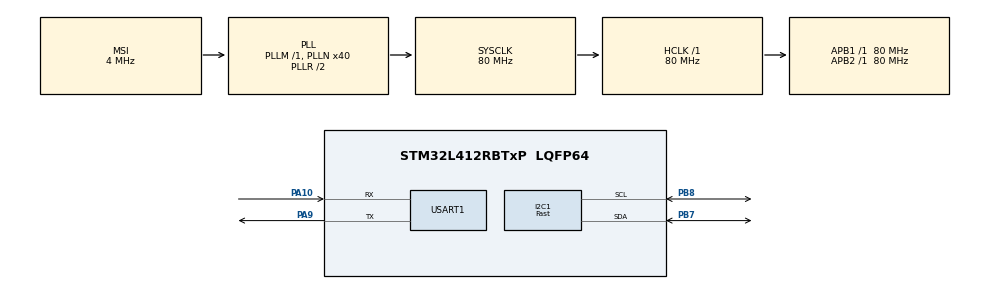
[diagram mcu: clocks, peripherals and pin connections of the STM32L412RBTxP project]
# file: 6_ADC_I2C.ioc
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I2C1.I2C_Speed_Mode=I2C_Fast
I2C1.Timing=0x00702991
Mcu.Family=STM32L4
Mcu.Name=STM32L412RBTxP
Mcu.Package=LQFP64
NVIC.PriorityGroup=NVIC_PRIORITYGROUP_4
PA10.Mode=Asynchronous
PA10.Signal=USART1_RX
PA9.Mode=Asynchronous
PA9.Signal=USART1_TX
PB7.Mode=I2C
PB7.Signal=I2C1_SDA
PB8.Mode=I2C
PB8.Signal=I2C1_SCL
ProjectManager.HeapSize=0x200
ProjectManager.StackSize=0x400
ProjectManager.TargetToolchain=STM32CubeIDE
RCC.ADCFreq_Value=80000000
RCC.AHBFreq_Value=80000000
RCC.APB1Freq_Value=80000000
RCC.APB1TimFreq_Value=80000000
RCC.APB2Freq_Value=80000000
RCC.APB2TimFreq_Value=80000000
RCC.CortexFreq_Value=80000000
RCC.HCLKFreq_Value=80000000
RCC.HSE_VALUE=8000000
RCC.HSI48_VALUE=48000000
RCC.HSI_VALUE=16000000
RCC.LSE_VALUE=32768
RCC.MSI_VALUE=4000000
RCC.PLLN=40
RCC.SYSCLKFreq_VALUE=80000000
RCC.SYSCLKSource=RCC_SYSCLKSOURCE_PLLCLK
RCC.USBFreq_Value=4000000
RCC.VCOOutputFreq_Value=160000000
USART1.VirtualMode-Asynchronous=VM_ASYNC
board=custom

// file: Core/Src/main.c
/* USER CODE BEGIN Header */
/**
  ******************************************************************************
  * @file           : main.c
  * @brief          : Main program body
  ******************************************************************************
  * @attention
  *
  * <h2><center>&copy; Copyright (c) 2021 STMicroelectronics.
  * All rights reserved.</center></h2>
  *
  * This software component is licensed by ST under BSD 3-Clause license,
  * the "License"; You may not use this file except in compliance with the
  * License. You may obtain a copy of the License at:
  *                        opensource.org/licenses/BSD-3-Clause
  *
  ******************************************************************************
  */
/* USER CODE END Header */
#include "main.h"
#include "i2c.h"
#include "usart.h"
#include "gpio.h"

/* USER CODE BEGIN Includes */

#include <stdio.h>
#include <string.h>
#include "MAX30100/max30100_for_stm32_hal.h"

/* USER CODE END Includes */

/* USER CODE BEGIN PV */
#define MAX30100_ADDRESS        0x57 <<1
#define MAX30100_PART_ID        0xFF
#define MAX30100_LED_Config     0x09

/* USER CODE END PV */

void SystemClock_Config(void);

/* USER CODE BEGIN 0 */
#ifdef __GNUC__
    #define PUTCHAR_PROTOTYPE int __io_putchar(int ch)
#else
    #define PUTCHAR_PROTOTYPE int fputc(int ch, FILE *f)
#endif

PUTCHAR_PROTOTYPE
{
  if (ch == '\n')
      HAL_UART_Transmit(&huart1, (uint8_t *) "\r", 1, 0xFFFF);
  HAL_UART_Transmit(&huart1, (uint8_t *)&ch, 1, 0xFFFF);
  return ch;
}

int _write(int file, char *ptr, int len)
{
    int DataIdx;

    for (DataIdx = 0; DataIdx < len; DataIdx++)
    {
        HAL_UART_Transmit(&huart1,(uint8_t*)ptr++,1,100);
    }
    return len;
}

uint8_t i2c_read_byte(uint8_t dev_addr, uint8_t reg_addr)
{
  uint8_t value;

  HAL_I2C_Mem_Read(&hi2c1, dev_addr, reg_addr, I2C_MEMADD_SIZE_8BIT, &value,1 , 100);

  return value;
}

/* USER CODE END 0 */

int main(void)
{

  /* MCU Configuration--------------------------------------------------------*/

  /* Reset of all peripherals, Initializes the Flash interface and the Systick. */
  HAL_Init();

  /* Configure the system clock */
  SystemClock_Config();

  /* Initialize all configured peripherals */
  MX_GPIO_Init();
  MX_USART1_UART_Init();
  MX_I2C1_Init();

  /* Infinite loop */
  /* USER CODE BEGIN WHILE */
  printf("start!! \r\n");
#if 1
  MAX30100_Init(&hi2c1, &huart1);
  MAX30100_SetSpO2SampleRate(MAX30100_SPO2SR_DEFAULT);
  MAX30100_SetLEDPulseWidth(MAX30100_LEDPW_DEFAULT);
  MAX30100_SetLEDCurrent(MAX30100_LEDCURRENT_DEFAULT, MAX30100_LEDCURRENT_DEFAULT);
  MAX30100_SetMode(MAX30100_SPO2_MODE);
#else
  printf("i2c scanning...\r\n");

  for (int i = 0; i < 127; i++) {
    if (HAL_OK == HAL_I2C_IsDeviceReady(&hi2c1, (uint8_t) i << 1, 2, 10))
      printf("\r\ndevice found at address : 0x%x\r\n", i << 1);
    else
      printf(".");
  }
  printf("\r\n");
#endif
  while (1)
  {
    MAX30100_ReadFIFO();
    MAX30100_PlotBothToUART(&huart1, _max30100_red_sample, _max30100_ir_sample, 16);
    HAL_Delay(1000);

    /* USER CODE END WHILE */

  }
}

void SystemClock_Config(void)
{
  RCC_OscInitTypeDef RCC_OscInitStruct = {0};
  RCC_ClkInitTypeDef RCC_ClkInitStruct = {0};
  RCC_PeriphCLKInitTypeDef PeriphClkInit = {0};

  /** Configure the main internal regulator output voltage
  */
  if (HAL_PWREx_ControlVoltageScaling(PWR_REGULATOR_VOLTAGE_SCALE1) != HAL_OK)
  {
    Error_Handler();
  }
  /** Initializes the RCC Oscillators according to the specified parameters
  * in the RCC_OscInitTypeDef structure.
  */
  RCC_OscInitStruct.OscillatorType = RCC_OSCILLATORTYPE_MSI;
  RCC_OscInitStruct.MSIState = RCC_MSI_ON;
  RCC_OscInitStruct.MSICalibrationValue = 0;
  RCC_OscInitStruct.MSIClockRange = RCC_MSIRANGE_6;
  RCC_OscInitStruct.PLL.PLLState = RCC_PLL_ON;
  RCC_OscInitStruct.PLL.PLLSource = RCC_PLLSOURCE_MSI;
  RCC_OscInitStruct.PLL.PLLM = 1;
  RCC_OscInitStruct.PLL.PLLN = 40;
  RCC_OscInitStruct.PLL.PLLQ = RCC_PLLQ_DIV2;
  RCC_OscInitStruct.PLL.PLLR = RCC_PLLR_DIV2;
  if (HAL_RCC_OscConfig(&RCC_OscInitStruct) != HAL_OK)
  {
    Error_Handler();
  }
  /** Initializes the CPU, AHB and APB buses clocks
  */
  RCC_ClkInitStruct.ClockType = RCC_CLOCKTYPE_HCLK|RCC_CLOCKTYPE_SYSCLK
                              |RCC_CLOCKTYPE_PCLK1|RCC_CLOCKTYPE_PCLK2;
  RCC_ClkInitStruct.SYSCLKSource = RCC_SYSCLKSOURCE_PLLCLK;
  RCC_ClkInitStruct.AHBCLKDivider = RCC_SYSCLK_DIV1;
  RCC_ClkInitStruct.APB1CLKDivider = RCC_HCLK_DIV1;
  RCC_ClkInitStruct.APB2CLKDivider = RCC_HCLK_DIV1;

  if (HAL_RCC_ClockConfig(&RCC_ClkInitStruct, FLASH_LATENCY_4) != HAL_OK)
  {
    Error_Handler();
  }
  PeriphClkInit.PeriphClockSelection = RCC_PERIPHCLK_USART1|RCC_PERIPHCLK_I2C1;
  PeriphClkInit.Usart1ClockSelection = RCC_USART1CLKSOURCE_PCLK2;
  PeriphClkInit.I2c1ClockSelection = RCC_I2C1CLKSOURCE_PCLK1;
  if (HAL_RCCEx_PeriphCLKConfig(&PeriphClkInit) != HAL_OK)
  {
    Error_Handler();
  }
}

void Error_Handler(void)
{
  __disable_irq();
  while (1)
  {
  }
}

/************************ (C) COPYRIGHT STMicroelectronics *****END OF FILE****/
